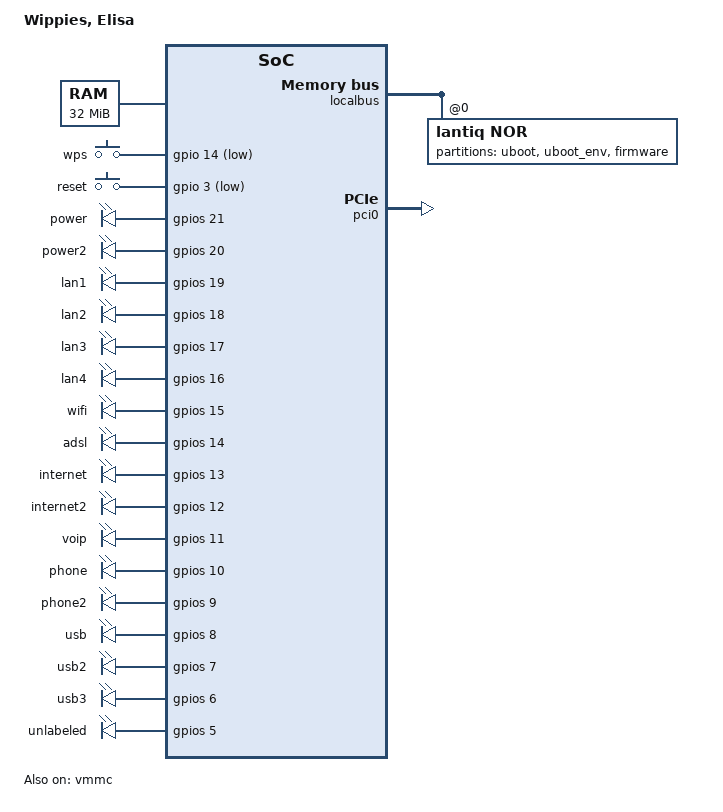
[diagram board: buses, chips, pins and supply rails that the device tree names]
/dts-v1/;

#include "danube.dtsi"

#include <dt-bindings/input/input.h>

/ {
	compatible = "arcadyan,arv4510pw", "lantiq,xway", "lantiq,danube";
	model = "Wippies, Elisa";

	chosen {
		bootargs = "console=ttyLTQ0,115200";
	};

	aliases {
		led-boot = &power;
		led-failsafe = &power2;
		led-running = &power;

		led-dsl = &adsl;
		led-internet = &internet;
		led-usb = &led_usb;
		led-usb2 = &led_usb2;
		led-wifi = &wifi;
	};

	memory@0 {
		reg = <0x0 0x2000000>;
	};

	gpio-keys-polled {
		compatible = "gpio-keys-polled";
		#address-cells = <1>;
		#size-cells = <0>;
		poll-interval = <100>;

		wps {
			label = "wps";
			gpios = <&gpio 14 GPIO_ACTIVE_LOW>;
			linux,code = <KEY_WPS_BUTTON>;
		};
		reset {
			label = "reset";
			gpios = <&gpio 3 GPIO_ACTIVE_LOW>;
			linux,code = <KEY_RESTART>;
		};
	};

	gpio-leds {
		compatible = "gpio-leds";
		power: power {
			label = "power";
			gpios = <&gpios 21 GPIO_ACTIVE_HIGH>;
			default-state = "keep";
		};
		power2: power2 {
			label = "power2";
			gpios = <&gpios 20 GPIO_ACTIVE_HIGH>;
		};
		lan1 {
			label = "lan1";
			gpios = <&gpios 19 GPIO_ACTIVE_HIGH>;
		};
		lan2 {
			label = "lan2";
			gpios = <&gpios 18 GPIO_ACTIVE_HIGH>;
		};
		lan3 {
			label = "lan3";
			gpios = <&gpios 17 GPIO_ACTIVE_HIGH>;
		};
		lan4 {
			label = "lan4";
			gpios = <&gpios 16 GPIO_ACTIVE_HIGH>;
		};
		wifi: wifi {
			label = "wifi";
			gpios = <&gpios 15 GPIO_ACTIVE_HIGH>;
		};
		adsl: adsl {
			label = "adsl";
			gpios = <&gpios 14 GPIO_ACTIVE_HIGH>;
		};
		internet: internet {
			label = "internet";
			gpios = <&gpios 13 GPIO_ACTIVE_HIGH>;
		};
		internet2 {
			label = "internet2";
			gpios = <&gpios 12 GPIO_ACTIVE_HIGH>;
		};
		voip {
			label = "voip";
			gpios = <&gpios 11 GPIO_ACTIVE_HIGH>;
		};
		phone {
			label = "phone";
			gpios = <&gpios 10 GPIO_ACTIVE_HIGH>;
		};
		phone2 {
			label = "phone2";
			gpios = <&gpios 9 GPIO_ACTIVE_HIGH>;
		};
		led_usb: usb {
			label = "usb";
			gpios = <&gpios 8 GPIO_ACTIVE_HIGH>;
		};
		led_usb2: usb2 {
			label = "usb2";
			gpios = <&gpios 7 GPIO_ACTIVE_HIGH>;
		};
		usb3 {
			label = "usb3";
			gpios = <&gpios 6 GPIO_ACTIVE_HIGH>;
		};
		unlabeled {
			label = "unlabeled";
			gpios = <&gpios 5 GPIO_ACTIVE_HIGH>;
		};
	};
};

&gpio {
	pinctrl-names = "default";
	pinctrl-0 = <&state_default>;

	state_default: pinmux {
		ebu {
			lantiq,groups = "ebu a23";
			lantiq,function = "ebu";
			lantiq,open-drain = <0>;
			lantiq,output = <1>;
		};
		stp {
			lantiq,groups = "stp";
			lantiq,function = "stp";
			lantiq,open-drain = <0>;
			lantiq,output = <1>;
		};
		exin {
			lantiq,groups = "exin1", "exin2";
			lantiq,function = "exin";
			lantiq,output = <0>;
		};
		pci_in {
			lantiq,groups = "req1", "req2";
			lantiq,function = "pci";
			lantiq,output = <0>;
		};
		pci_out {
			lantiq,groups = "gnt1", "gnt2";
			lantiq,function = "pci";
			lantiq,open-drain = <0>;
			lantiq,pull = <0>;
			lantiq,output = <1>;
		};
		pci_rst {
			lantiq,pins = "io21";
			lantiq,open-drain = <0>;
			lantiq,output = <1>;
		};
		buttons {
			lantiq,pins = "io3", "io14";
			lantiq,pull = <2>;
			lantiq,output = <0>;
		};
	};
};

&gpios {
	status = "okay";
	lantiq,groups = <0x7>;
};

&gsw {
	phy-mode = "rmii";
};

&localbus {
	nor@0 {
		compatible = "lantiq,nor";
		bank-width = <2>;
		reg = <0 0x0 0x1000000>;
		#address-cells = <1>;
		#size-cells = <1>;

		lantiq,noxip;

		partitions {
			compatible = "fixed-partitions";
			#address-cells = <1>;
			#size-cells = <1>;

			partition@0 {
				label = "uboot";
				reg = <0x00000 0x40000>;
				read-only;
			};

			partition@40000 {
				label = "uboot_env";
				reg = <0x40000 0x20000>;
				read-only;
			};

			partition@60000 {
				label = "firmware";
				reg = <0x60000 0xfa0000>;
			};
		};
	};
};

&pci0 {
	status = "okay";
	lantiq,external-clock;
	interrupt-map = <
		0x6000 0 0 1 &icu0 135
		0x7800 0 0 1 &icu0 66
		0x7800 0 0 2 &icu0 66
		0x7800 0 0 3 &icu0 66
	>;
	gpio-reset = <&gpio 21 GPIO_ACTIVE_HIGH>;
	req-mask = <0x7>;
};

&vmmc {
	status = "okay";
};
